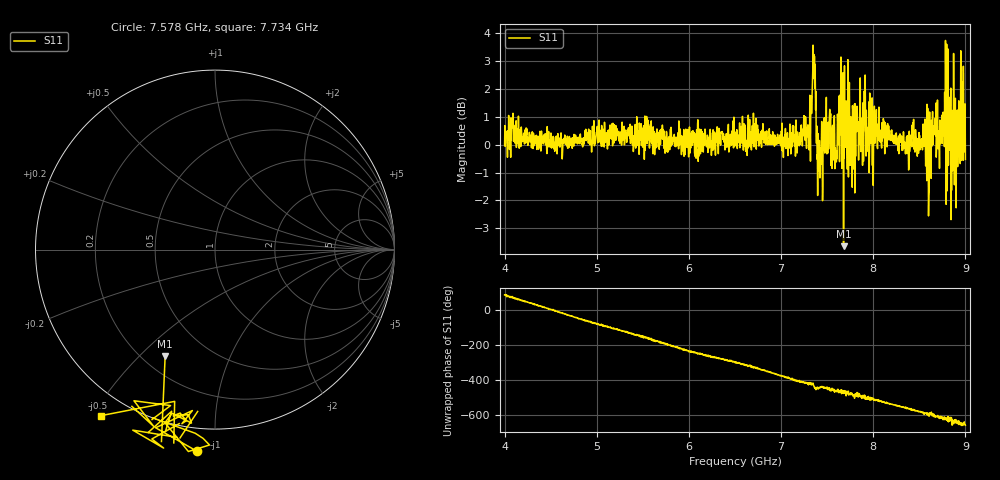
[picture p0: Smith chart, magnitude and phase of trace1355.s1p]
! Created with skrf 1.8.0 (http://scikit-rf.org).
# Hz S RI R 50.0
!freq ReS11 ImS11
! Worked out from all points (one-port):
!   1601 points, 4 GHz to 9 GHz, reference 50 ohm
!   lowest |S11| = -3.6 dB at 7.678 GHz (marker M1), VSWR 4.83, Z = 14.3 - j30 ohm
!   |S11| at or under -10 dB: nowhere
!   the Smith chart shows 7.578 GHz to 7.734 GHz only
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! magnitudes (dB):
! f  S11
! 4 GHz  0.0
! 4.1 GHz  0.4
! 4.625 GHz  -0.5
! 5.25 GHz  0.1
! 5.875 GHz  0.0
! 6.5 GHz  0.1
! 7.125 GHz  0.7
! 7.294 GHz  0.3
! 7.353 GHz  2.6
! 7.4 GHz  0.4
! 7.428 GHz  -0.2
! 7.512 GHz  0.8
! 7.584 GHz  -0.9
! 7.65 GHz  3.2
! 7.678 GHz  -3.6
! 7.75 GHz  -0.7
! 7.775 GHz  1.4
! 7.838 GHz  0.8
! 7.894 GHz  -0.6
! 8.375 GHz  0.0
! 8.541 GHz  0.7
! 8.603 GHz  -1.8
! 8.656 GHz  0.6
! 8.709 GHz  0.4
! 8.809 GHz  3.4
! 8.875 GHz  1.0
! 8.953 GHz  -0.6
! 9 GHz  -0.5
